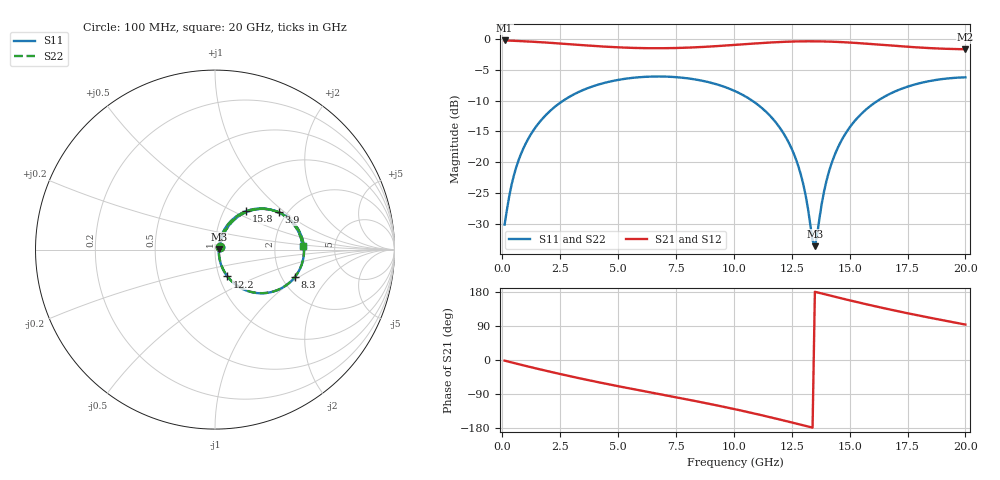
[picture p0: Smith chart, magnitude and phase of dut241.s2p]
! Touchstone file exported from HFSS 2026.1.0
!  File:  C:/ffzhzh/LocalFiles/Ansys_Project_Files/temp_train_TSV_RDL_241_1783066263_46780.aedt
!  Generated:  04:22:08 PM Jul  3, 2026
!  Design:  TSV_RDL
!  Project:  temp_train_TSV_RDL_241_1783066263_46780
! Variables:
!  h_bsmrdl = 2.03um
!  h_ox = 20um
!  h_rdl = 5um
!  h_sub = 87.53um
!  h_tmrdl = 2.05um
!  h_tsv = 87.53um
!  h_via = 3um
!  l_bsmrdl = 426.06um
!  l_sub = 4389.09um
!  l_tmrdl = 640.34um
!  m_sub = 200um
!  pitch = 51.59um
!  r_tsv = 9.04um
!  s_tmrdl = 10um
!  w_bsmrdl = 20.13um
!  w_sub = 500um
!  w_tmrdl = 29.72um
!  x_tsv_center1 = 655.2um
!  x_tsv_center2 = 1101.39um
!  x_tsv_center3 = 1771.45um
!  x_tsv_center4 = 2217.64um
!  x_tsv_center5 = 2887.7um
!  x_tsv_center6 = 3333.89um
# GHz S MA R 50.000000
! Terminal data exported
! Port[1] = TM_RDL1_1_T1
! Port[2] = TM_RDL5_1_T1
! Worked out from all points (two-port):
!   200 points, 100 MHz to 20 GHz, reference 50 ohm
!   highest |S21| = -0.24 dB at 100 MHz (marker M1); lowest = -1.7 dB at 20 GHz (marker M2)
!   |S21| within 3 dB of the highest: start of sweep to end of sweep
!   lowest |S11| = -33.6 dB at 13.5 GHz (marker M3), VSWR 1.04, Z = 52.1 + j0.196 ohm
!   |S11| at or under -10 dB: start of sweep to 2.637 GHz; 10.79 GHz to 16.22 GHz (5.436 GHz wide, 40.2 % of centre)
!   |S22| runs from -33.2 to -6.1 dB; largest |S21 - S12| = 1.7e-14
!   S11 on the Smith chart (normalised r, x): 100 MHz: 1.06, +0.03; 3.9 GHz: 1.81, +0.91; 8.3 GHz: 2.35, -0.92; 12.2 GHz: 1.09, -0.34; 15.8 GHz: 1.27, +0.59; 20 GHz: 2.90, +0.14
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0.1  0.03115 27.6  0.9727 -1.6  0.9727 -1.6  0.03115 27.6
! Gamma 0 0 0 0
! Port Impedance 50 0 50 0
0.5  0.07816 58.8  0.9666 -7.9  0.9666 -7.9  0.07816 58.9
1.2  0.1643 59.5  0.9524 -18.4  0.9524 -18.4  0.1643 59.5
2.2  0.2745 49.9  0.9271 -32.8  0.9271 -32.8  0.2744 49.9
3.5  0.3859 35.0  0.89 -50.4  0.89 -50.4  0.3859 35.0
3.9  0.4122 30.3  0.8794 -55.5  0.8794 -55.5  0.4122 30.3
6.8  0.496 -2.2  0.8411 -90.2  0.8411 -90.2  0.496 -2.1
8.3  0.4705 -19.0  0.8551 -107.9  0.8551 -107.9  0.4705 -18.9
10.1  0.3738 -40.3  0.8969 -130.6  0.8969 -130.6  0.3738 -40.2
11.3  0.2661 -55.2  0.9295 -147.1  0.9295 -147.1  0.2662 -55.0
12.2  0.1649 -65.3  0.9485 -160.3  0.9485 -160.3  0.165 -64.9
12.9  0.07845 -67.5  0.9565 -170.9  0.9565 -170.9  0.07872 -66.7
13.1  0.05388 -63.2  0.9574 -173.9  0.9574 -173.9  0.05429 -62.1
13.4  0.02322 -27.3  0.9576 -178.5  0.9576 -178.5  0.02423 -26.1
13.5  0.02082 5.2  0.9574 180.0  0.9574 180.0  0.02196 4.9
13.9  0.05835 61.6  0.9547 173.9  0.9547 173.9  0.0588 60.5
14.3  0.1076 65.4  0.9495 167.9  0.9495 167.9  0.1079 64.7
14.9  0.1797 61.2  0.9378 158.9  0.9378 158.9  0.1799 60.8
15.8  0.2766 50.9  0.914 146.0  0.914 146.0  0.2768 50.6
16.7  0.3557 40.0  0.8872 133.7  0.8872 133.7  0.3558 39.7
18.2  0.4454 22.3  0.8482 114.8  0.8482 114.8  0.4455 22.1
20  0.4884 2.2  0.8257 93.5  0.8257 93.5  0.4885 2.1
